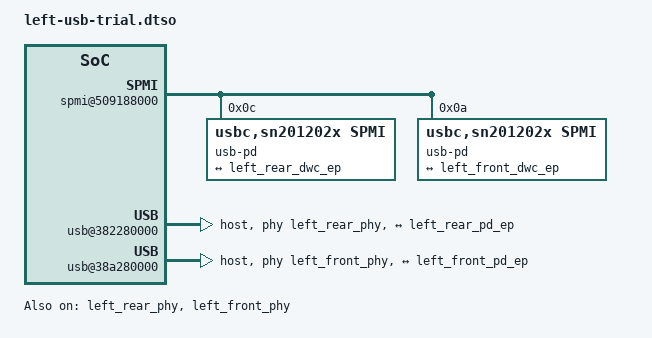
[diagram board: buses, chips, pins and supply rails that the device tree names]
/dts-v1/;
/plugin/;
/* Optional J614s USB2 trial; requires the cable-mode-precedence driver. */
/ {
 compatible = "apple,j614s";
 fragment@0 {
  target-path = "/soc/power-management@508300000/power-controller@68";
  left_spmi_pd: __overlay__ {

  };
 };
 fragment@1 {
  target-path = "/soc/power-management@508300000/power-controller@118";
  left_rear_pd: __overlay__ {

  };
 };
 fragment@2 {
  target-path = "/soc/power-management@508300000/power-controller@120";
  left_front_pd: __overlay__ {

  };
 };
 fragment@3 {
  target-path = "/soc";
  __overlay__ {
  left_rear_phy: phy@382a90000 {
   compatible = "apple,t6040-atcphy";
   reg = <3 0x82a90000 0 0x4000>, <3 0x82800000 0 0x4000>;
   reg-names = "bank0", "bank1"; #phy-cells = <1>;
   power-domains = <&left_rear_pd>; status = "okay";
  };
  left_front_phy: phy@38aa90000 {
   compatible = "apple,t6040-atcphy";
   reg = <3 0x8aa90000 0 0x4000>, <3 0x8a800000 0 0x4000>;
   reg-names = "bank0", "bank1"; #phy-cells = <1>;
   power-domains = <&left_front_pd>; status = "okay";
  };
  spmi@509188000 {
   compatible = "apple,t6040-spmi", "apple,spmi";
   reg = <5 0x09188000 0 0x4000>; power-domains = <&left_spmi_pd>;
   #address-cells = <2>; #size-cells = <0>; status = "okay";
   usb-pd@c {
    compatible = "usbc,sn201202x,spmi"; reg = <0xc 0>;
    connector {
     compatible = "usb-c-connector"; power-role = "source"; data-role = "host";
     port { left_rear_pd_ep: endpoint { remote-endpoint = <&left_rear_dwc_ep>; }; };
    };
   };
   usb-pd@a {
    compatible = "usbc,sn201202x,spmi"; reg = <0xa 0>;
    connector {
     compatible = "usb-c-connector"; power-role = "source"; data-role = "host";
     port { left_front_pd_ep: endpoint { remote-endpoint = <&left_front_dwc_ep>; }; };
    };
   };
  };
  };
 };
 fragment@4 {
  target-path = "/soc/iommu@382f00000";
  __overlay__ {
   status = "okay";
  };
 };
 fragment@5 {
  target-path = "/soc/iommu@382f80000";
  __overlay__ {
   status = "okay";
  };
 };
 fragment@6 {
  target-path = "/soc/usb@382280000";
  __overlay__ {
   status = "okay"; dr_mode = "host"; maximum-speed = "high-speed";
   arch-m4,usb-wait-for-cable; usb-role-switch;
   phys = <&left_rear_phy 3>; phy-names = "usb2-phy";
   port { left_rear_dwc_ep: endpoint { remote-endpoint = <&left_rear_pd_ep>; }; };
  };
 };
 fragment@7 {
  target-path = "/soc/iommu@38af00000";
  __overlay__ {
   status = "okay";
  };
 };
 fragment@8 {
  target-path = "/soc/iommu@38af80000";
  __overlay__ {
   status = "okay";
  };
 };
 fragment@9 {
  target-path = "/soc/usb@38a280000";
  __overlay__ {
   status = "okay"; dr_mode = "host"; maximum-speed = "high-speed";
   arch-m4,usb-wait-for-cable; usb-role-switch;
   phys = <&left_front_phy 3>; phy-names = "usb2-phy";
   port { left_front_dwc_ep: endpoint { remote-endpoint = <&left_front_pd_ep>; }; };
  };
 };
};
